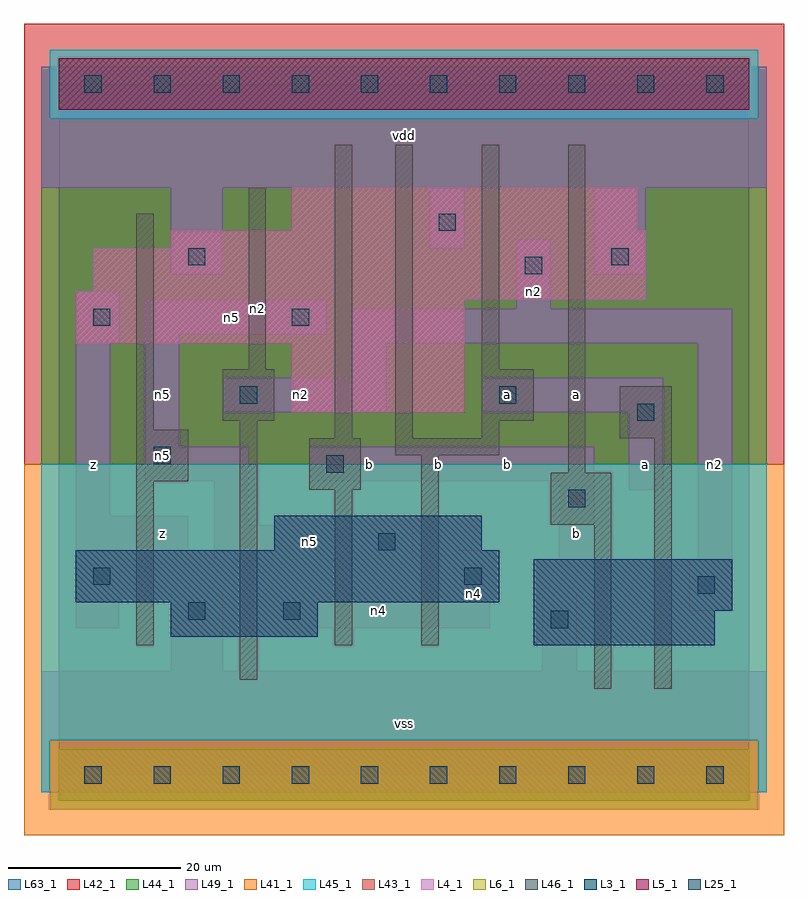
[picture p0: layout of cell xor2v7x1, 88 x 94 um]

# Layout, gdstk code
import gdstk
lib = gdstk.Library(unit=1e-6, precision=1e-09)
def R(c, l, rs):  # rectangles x0, y0, x1, y1
    for r in rs: c.add(gdstk.rectangle(r[:2], r[2:], *l))
def A(c, l, x, y, w, h, nx, ny, dx, dy):  # array of equal rectangles
    R(c, l, [(x+i*dx, y+j*dy, x+i*dx+w, y+j*dy+h) for i in range(nx) for j in range(ny)])
L3_1 = (3, 1)
L4_1 = (4, 1)
L5_1 = (5, 1)
L6_1 = (6, 1)
L25_1 = (25, 1)
L41_1 = (41, 1)
L42_1 = (42, 1)
L43_1 = (43, 1)
L44_1 = (44, 1)
L45_1 = (45, 1)
L46_1 = (46, 1)
L49_1 = (49, 1)
L63_1 = (63, 1)

xor2v7x1 = lib.new_cell('xor2v7x1')
R(xor2v7x1, L3_1, [(55,15,76,19), (13,16,30,20), (55,19,78,25), (2,20,51,26), (25,26,49,30)])
R(xor2v7x1, L4_1, [(27,42,47,50), (2,50,47,55), (2,55,68,56), (4,56,68,61), (13,61,68,63), (27,63,67,68)])
R(xor2v7x1, L5_1, [(0,77,80,83)])
R(xor2v7x1, L6_1, [(0,-3,80,3), (0,-3,80,3)])
A(xor2v7x1, L25_1, 3, -1, 2, 2, 10, 2, 8, 80)
R(xor2v7x1, L25_1, [(57,17,59,19), (15,18,17,20), (26,18,28,20), (74,21,76,23), (4,22,6,24), (47,22,49,24), (37,26,39,28), (59,31,61,33), (31,35,33,37), (11,36,13,38), (67,41,69,43), (21,43,23,45), (51,43,53,45), (4,52,6,54), (27,52,29,54), (54,58,56,60), (15,59,17,61), (64,59,66,61), (44,63,46,65)])
R(xor2v7x1, L41_1, [(-4,-7,84,36)])
R(xor2v7x1, L42_1, [(-4,36,84,87)])
R(xor2v7x1, L43_1, [(0,-3,80,3), (55,15,76,19), (13,16,30,20), (55,19,78,25), (2,20,51,26), (25,26,49,30), (27,42,47,50), (2,50,47,55), (2,55,68,56), (4,56,68,61), (13,61,68,63), (27,63,67,68), (0,77,80,83)])
R(xor2v7x1, L44_1, [(-1,-4,81,4), (-2,36,82,76), (-2,76,-1,82), (81,76,82,82)])
R(xor2v7x1, L45_1, [(-2,-2,-1,4), (81,-2,82,4), (-2,4,82,36), (-1,76,81,84)])
R(xor2v7x1, L46_1, [(62,10,64,29), (69,10,71,39), (21,11,23,41), (9,15,11,34), (32,15,34,33), (42,15,44,37), (57,29,64,35), (29,33,35,39), (9,34,15,40), (59,35,61,73), (39,37,51,39), (32,39,34,73), (39,39,41,73), (49,39,51,41), (65,39,71,45), (9,40,11,65), (19,41,25,47), (49,41,55,47), (22,47,24,68), (49,47,51,73)])
R(xor2v7x1, L49_1, [(-2,-2,82,12), (13,12,19,21), (56,12,60,21), (2,17,7,26), (24,17,50,21), (73,19,78,25), (46,21,50,26), (18,25,41,29), (58,25,62,34), (74,25,78,50), (2,26,15,30), (18,29,22,34), (2,30,6,50), (66,33,70,42), (10,34,22,38), (29,34,62,38), (10,38,14,51), (19,42,38,46), (49,42,70,46), (34,46,38,50), (2,50,7,56), (34,50,78,54), (10,51,31,55), (53,54,57,62), (13,58,19,68), (62,58,68,68), (43,61,47,68), (-2,68,82,82)])
R(xor2v7x1, L63_1, [(0,0,80,80)])
xor2v7x1.add(gdstk.Label('n5', (12,37), layer=49, texttype=1))
xor2v7x1.add(gdstk.Label('n2', (23,54), layer=46, texttype=1))
xor2v7x1.add(gdstk.Label('z', (4,36), layer=49, texttype=1))
xor2v7x1.add(gdstk.Label('z', (12,28), layer=49, texttype=1))
xor2v7x1.add(gdstk.Label('n5', (12,44), layer=49, texttype=1))
xor2v7x1.add(gdstk.Label('vss', (40,6), layer=49, texttype=1))
xor2v7x1.add(gdstk.Label('n5', (29,27), layer=49, texttype=1))
xor2v7x1.add(gdstk.Label('n2', (28,44), layer=49, texttype=1))
xor2v7x1.add(gdstk.Label('b', (44,36), layer=49, texttype=1))
xor2v7x1.add(gdstk.Label('b', (36,36), layer=49, texttype=1))
xor2v7x1.add(gdstk.Label('n5', (20,53), layer=49, texttype=1))
xor2v7x1.add(gdstk.Label('vdd', (40,74), layer=49, texttype=1))
xor2v7x1.add(gdstk.Label('n4', (48,21), layer=49, texttype=1))
xor2v7x1.add(gdstk.Label('n4', (37,19), layer=49, texttype=1))
xor2v7x1.add(gdstk.Label('b', (60,28), layer=49, texttype=1))
xor2v7x1.add(gdstk.Label('b', (52,36), layer=49, texttype=1))
xor2v7x1.add(gdstk.Label('a', (52,44), layer=49, texttype=1))
xor2v7x1.add(gdstk.Label('a', (60,44), layer=49, texttype=1))
xor2v7x1.add(gdstk.Label('n2', (55,56), layer=49, texttype=1))
xor2v7x1.add(gdstk.Label('a', (68,36), layer=49, texttype=1))
xor2v7x1.add(gdstk.Label('n2', (76,36), layer=49, texttype=1))

lib.write_gds('xor2v7x1.gds')
